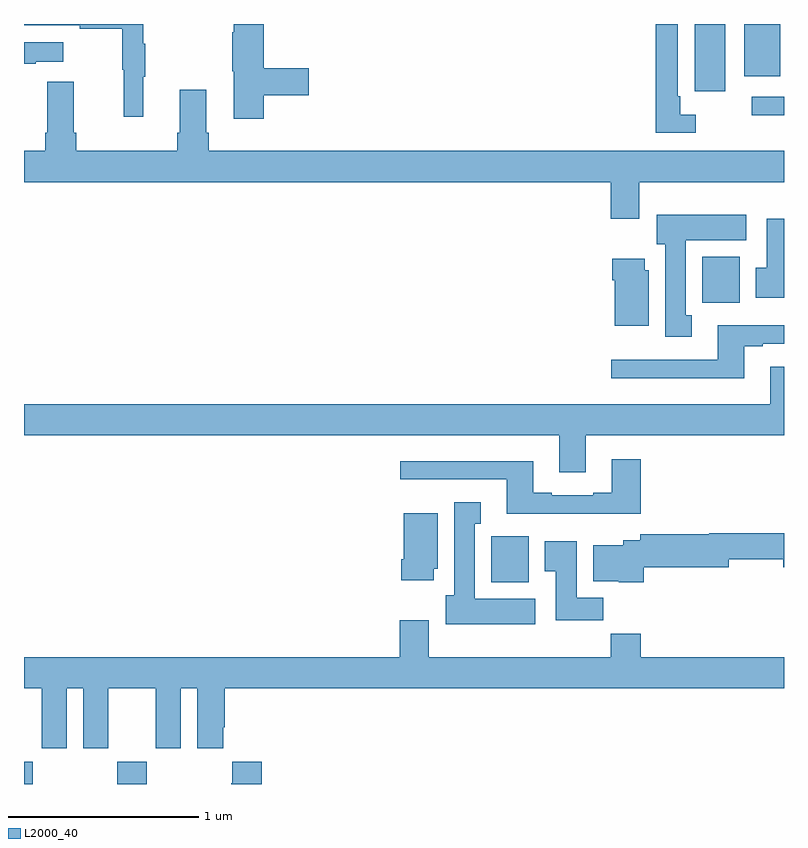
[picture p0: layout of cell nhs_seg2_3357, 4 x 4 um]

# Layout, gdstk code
import gdstk
lib = gdstk.Library(unit=1e-6, precision=1e-09)
def R(c, l, rs):  # rectangles x0, y0, x1, y1
    for r in rs: c.add(gdstk.rectangle(r[:2], r[2:], *l))
def P(c, l, *ps):  # polygons
    for p in ps: c.add(gdstk.Polygon(p, *l))
L2000_40 = (2000, 40)

nhs_seg2_3357 = lib.new_cell('nhs_seg2_3357')
R(nhs_seg2_3357, L2000_40, [(287,645.8,287.046,645.916), (287.491,645.8,287.646,645.916), (289.46,646.862,289.657,647.104), (290.57,648.332,290.767,648.574), (290.829,649.32,291,649.416), (290.531,649.446,290.692,649.8), (290.792,649.526,290.98,649.8)])
P(nhs_seg2_3357, L2000_40, [(290.536,649.323),(290.454,649.323),(290.454,649.42),(290.442,649.42),(290.442,649.8),(290.326,649.8),(290.326,649.227),(290.536,649.227)],
  [(287.627,649.523),(287.638,649.523),(287.638,649.697),(287.627,649.697),(287.627,649.8),(287,649.8),(287,649.794),(287.293,649.794),(287.293,649.774),(287.517,649.774),(287.517,649.56),(287.524,649.56),(287.524,649.311),(287.627,649.311)],
  [(288.263,649.426),(288.499,649.426),(288.499,649.568),(288.263,649.568),(288.263,649.8),(288.104,649.8),(288.104,649.757),(288.097,649.757),(288.097,649.551),(288.104,649.551),(288.104,649.302),(288.263,649.302)],
  [(287.063,649.601),(287.206,649.601),(287.206,649.705),(287,649.705),(287,649.591),(287.063,649.591)],
  [(290.239,648.968),(291,648.968),(291,649.132),(287.972,649.132),(287.972,649.228),(287.959,649.228),(287.959,649.453),(287.819,649.453),(287.819,649.228),(287.807,649.228),(287.807,649.132),(287.276,649.132),(287.276,649.228),(287.263,649.228),(287.263,649.495),(287.123,649.495),(287.123,649.228),(287.111,649.228),(287.111,649.132),(287,649.132),(287,648.968),(290.087,648.968),(290.087,648.774),(290.239,648.774)],
  [(290.515,648.266),(290.482,648.266),(290.482,648.662),(290.8,648.662),(290.8,648.796),(290.33,648.796),(290.33,648.642),(290.375,648.642),(290.375,648.153),(290.515,648.153)],
  [(291,648.774),(290.909,648.774),(290.909,648.516),(290.852,648.516),(290.852,648.36),(291,648.36)],
  [(290.287,648.504),(290.266,648.504),(290.266,648.565),(290.096,648.565),(290.096,648.452),(290.108,648.452),(290.108,648.212),(290.287,648.212)],
  [(290.791,648.105),(290.887,648.105),(290.887,648.117),(291,648.117),(291,648.214),(290.651,648.214),(290.651,648.033),(290.091,648.033),(290.091,647.936),(290.791,647.936)],
  [(289.957,647.636),(291,647.636),(291,647.995),(290.927,647.995),(290.927,647.8),(287,647.8),(287,647.636),(289.817,647.636),(289.817,647.442),(289.957,647.442)],
  [(290.246,647.509),(290.093,647.509),(290.093,647.332),(289.997,647.332),(289.997,647.319),(289.777,647.319),(289.777,647.332),(289.681,647.332),(289.681,647.5),(288.981,647.5),(288.981,647.403),(289.541,647.403),(289.541,647.222),(290.246,647.222)],
  [(289.69,646.774),(289.372,646.774),(289.372,647.171),(289.405,647.171),(289.405,647.284),(289.265,647.284),(289.265,646.794),(289.22,646.794),(289.22,646.64),(289.69,646.64)],
  [(289.156,646.932),(289.177,646.932),(289.177,647.224),(288.998,647.224),(288.998,646.984),(288.986,646.984),(288.986,646.872),(289.156,646.872)],
  [(290.261,646.942),(290.71,646.942),(290.71,646.984),(290.996,646.984),(290.996,646.942),(291,646.942),(291,647.12),(290.606,647.12),(290.606,647.114),(290.244,647.114),(290.244,647.083),(290.154,647.083),(290.154,647.056),(289.997,647.056),(289.997,646.868),(290.13,646.868),(290.13,646.862),(290.261,646.862)],
  [(290.048,646.78),(289.909,646.78),(289.909,647.077),(289.742,647.077),(289.742,646.921),(289.799,646.921),(289.799,646.662),(290.048,646.662)],
  [(287.224,646.304),(287.312,646.304),(287.312,645.987),(287.443,645.987),(287.443,646.304),(287.693,646.304),(287.693,645.987),(287.824,645.987),(287.824,646.304),(287.912,646.304),(287.912,645.987),(288.049,645.987),(288.049,646.099),(288.056,646.099),(288.056,646.304),(291,646.304),(291,646.468),(290.246,646.468),(290.246,646.592),(290.089,646.592),(290.089,646.468),(289.129,646.468),(289.129,646.663),(288.977,646.663),(288.977,646.468),(287,646.468),(287,646.304),(287.093,646.304),(287.093,645.987),(287.224,645.987)],
  [(288.251,645.916),(288.095,645.916),(288.095,645.803),(288.091,645.803),(288.091,645.8),(288.251,645.8)])

lib.write_gds('nhs_seg2_3357.gds')
